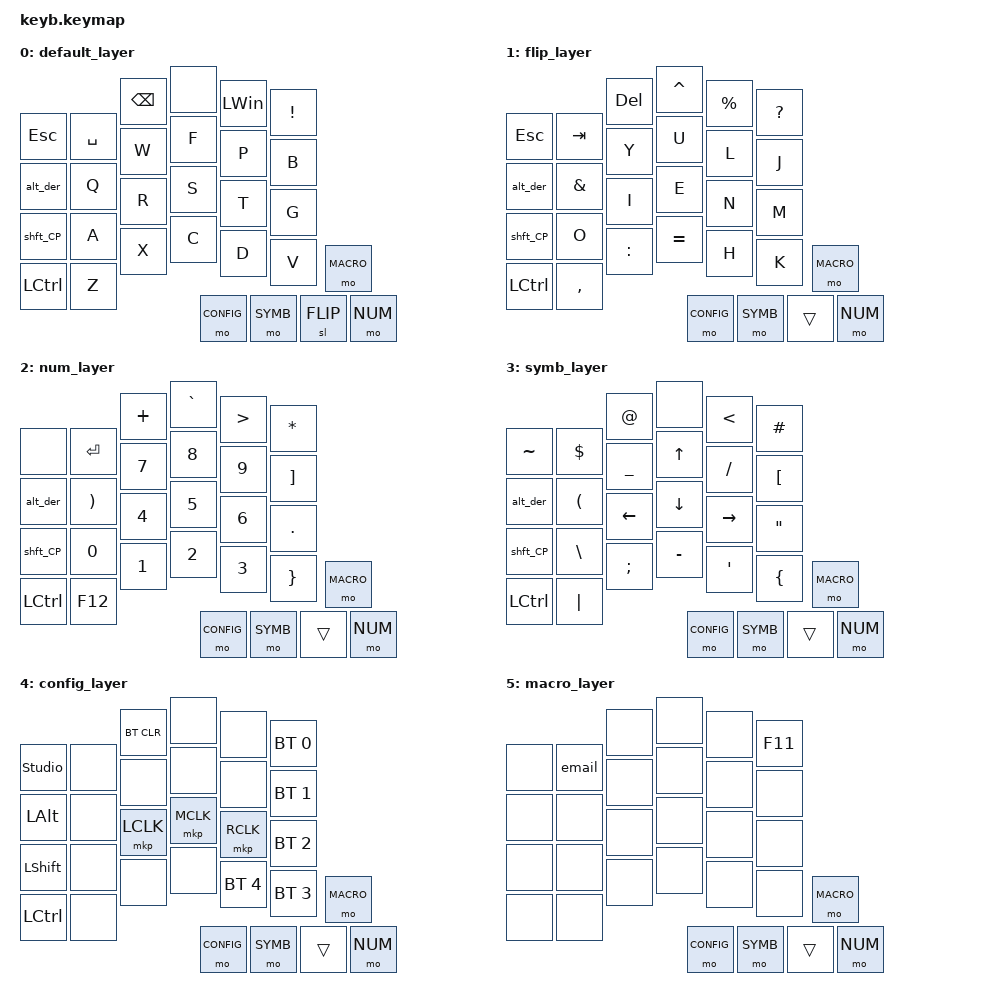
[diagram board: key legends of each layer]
/*
 * Copyright (c) 2021 Nick Winans
 *
 * SPDX-License-Identifier: MIT
 */

#include <behaviors.dtsi>
#include <dt-bindings/zmk/keys.h>
#include <dt-bindings/zmk/bt.h>
#include <dt-bindings/zmk/pointing.h>

#define DEFAULT   0 
#define FLIP      1 
#define NUM       2
#define SYMB      3
#define CONFIG    4
#define MACRO     5

// Release the sticky FLIP layer after 400 ms instead of the default 1000 ms
&sl {
    release-after-ms = <400>;
};

/ {

    macros {
        hotmail: hotmail_macro {
            compatible = "zmk,behavior-macro";
            #binding-cells = <0>;
            bindings
                = <&macro_tap &kp S &kp A &kp I &kp D &kp UNDERSCORE &kp A &kp L &kp V &kp A &kp R &kp A &kp D &kp O &kp AT &kp H &kp O &kp T &kp M &kp A &kp I &kp L &kp PERIOD &kp C &kp O &kp M>;
        };
        gmail: gmail_macro {
            compatible = "zmk,behavior-macro";
            #binding-cells = <0>;
            bindings
                = <&macro_tap &kp A &kp L &kp V &kp A &kp R &kp A &kp D &kp O &kp S &kp A &kp I &kp D &kp N9 &kp N4 &kp AT &kp G &kp M &kp A &kp I &kp L &kp PERIOD &kp C &kp O &kp M>;
        };
        inria: inria_macro {
            compatible = "zmk,behavior-macro";
            #binding-cells = <0>;
            bindings
                = <&macro_tap &kp S &kp A &kp I &kp D &kp MINUS &kp A &kp L &kp E &kp X &kp A &kp N &kp D &kp E &kp R &kp PERIOD &kp A &kp L &kp V &kp A &kp R &kp A &kp D &kp O &kp MINUS &kp M &kp A &kp R &kp I &kp N &kp AT &kp I &kp N &kp R &kp I &kp A &kp PERIOD &kp F &kp R>;
        };
    };

    behaviors {
        shft_CP: tap_dance_0 {
            compatible = "zmk,behavior-tap-dance";
            #binding-cells = <0>;
            tapping-term-ms = <200>;
            bindings = <&kp LSHFT>, <&kp CAPSLOCK>;
        };

        email: tap_dance_1 {
            compatible = "zmk,behavior-tap-dance";
            #binding-cells = <0>;
            tapping-term-ms = <200>;
            bindings = <&hotmail>, <&gmail>, <&inria>;
        };

        alt_der: tap_dance_2 {
            compatible = "zmk,behavior-tap-dance";
            #binding-cells = <0>;
            tapping-term-ms = <200>;
            bindings = <&kp LALT>, <&sk RALT>;
        };
    };




    keymap {
        compatible = "zmk,keymap";

        default_layer {
            bindings = <
                &kp ESC    &kp SPACE    &kp BSPC   &none        &kp LEFT_WIN  &kp EXCLAMATION
                &alt_der   &kp Q        &kp W      &kp F        &kp P         &kp B 
                &shft_CP   &kp A        &kp R      &kp S        &kp T         &kp G  
                &kp LCTRL  &kp Z        &kp X      &kp C        &kp D         &kp V  
                
                &mo CONFIG  &mo SYMB &sl FLIP  &mo MACRO  &mo NUM  
            >;
        };

        flip_layer {
            bindings = <
                &kp ESC    &kp TAB         &kp DEL         &kp CARET       &kp PERCENT  &kp QUESTION
                &alt_der   &kp AMPERSAND   &kp Y           &kp U           &kp L        &kp J 
                &shft_CP   &kp O           &kp I           &kp E           &kp N        &kp M  
                &kp LCTRL  &kp COMMA       &kp COLON       &kp EQUAL       &kp H        &kp K  
                
                &mo CONFIG  &mo SYMB &trans  &mo MACRO  &mo NUM                         
            >;

        };

        num_layer {
            bindings = <
                &none      &kp ENTER             &kp PLUS     &kp GRAVE     &kp GREATER_THAN  &kp ASTERISK
                &alt_der   &kp RIGHT_PARENTHESIS  &kp N7       &kp N8        &kp N9        &kp RIGHT_BRACKET 
                &shft_CP   &kp N0                &kp N4       &kp N5        &kp N6        &kp PERIOD  
                &kp LCTRL  &kp F12               &kp N1       &kp N2        &kp N3        &kp RIGHT_BRACE
                
                &mo CONFIG  &mo SYMB &trans  &mo MACRO  &mo NUM                         
            >;

        };

        symb_layer {
            bindings = <
                &kp TILDE    &kp DOLLAR              &kp AT           &none       &kp LESS_THAN      &kp HASH
                &alt_der     &kp LEFT_PARENTHESIS  &kp UNDERSCORE   &kp UP      &kp SLASH          &kp LEFT_BRACKET 
                &shft_CP     &kp BACKSLASH         &kp LEFT         &kp DOWN    &kp RIGHT          &kp DOUBLE_QUOTES  
                &kp LCTRL    &kp PIPE              &kp SEMICOLON    &kp MINUS   &kp SINGLE_QUOTE   &kp LEFT_BRACE  
                
                &mo CONFIG  &mo SYMB &trans  &mo MACRO  &mo NUM                         
            >;

        };

        config_layer {
            bindings = <
                &studio_unlock    &none     &bt BT_CLR    &none          &none         &bt BT_SEL 0
                &kp LALT          &none     &none         &none          &none         &bt BT_SEL 1
                &kp LSHFT         &none     &mkp LCLK     &mkp MCLK      &mkp RCLK     &bt BT_SEL 2
                &kp LCTRL         &none     &none         &none          &bt BT_SEL 4  &bt BT_SEL 3
                
                &mo CONFIG  &mo SYMB &trans  &mo MACRO  &mo NUM                         
            >;

        };

        macro_layer {
            bindings = <
                &none    &email    &none     &none      &none    &kp F11
                &none    &none     &none     &none      &none    &none 
                &none    &none     &none     &none      &none    &none  
                &none    &none     &none     &none      &none    &none
                
                &mo CONFIG  &mo SYMB &trans  &mo MACRO  &mo NUM                         
            >;

        };

        // Spare layers for ZMK Studio. Ignored by the normal firmware, available to edit
        // in the Studio firmware (keyb-zmk-studio).
        extra_layer_1 {
            status = "reserved";
        };

        extra_layer_2 {
            status = "reserved";
        };
    };
};
